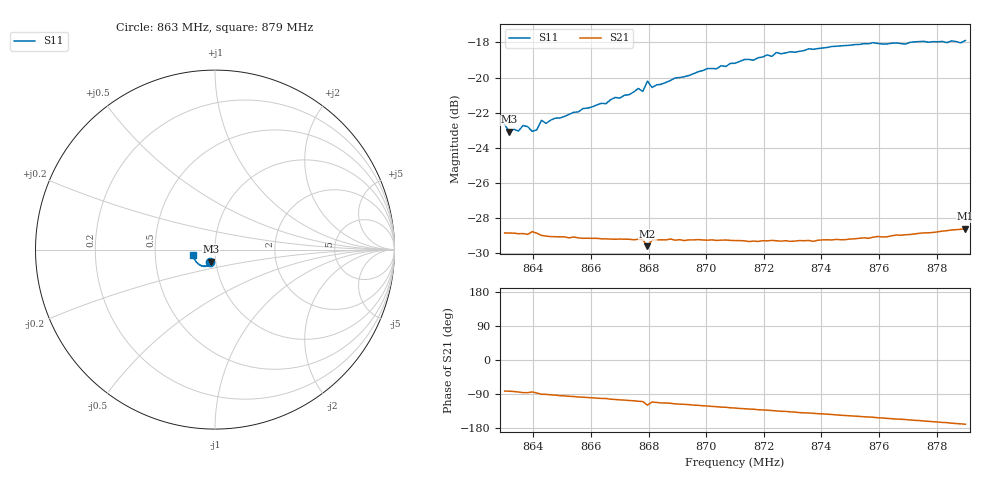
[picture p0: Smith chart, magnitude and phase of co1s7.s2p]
# HZ S RI R 50
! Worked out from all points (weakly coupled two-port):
!   101 points, 863 MHz to 879 MHz, reference 50 ohm
!   highest |S21| = -28.63 dB at 879 MHz (marker M1); lowest = -29.6 dB at 867.96 MHz (marker M2)
!   lowest |S11| = -23.1 dB at 863.16 MHz (marker M3), VSWR 1.15, Z = 47.4 - j6.32 ohm
!   |S11| at or under -10 dB: start of sweep to end of sweep
!   S12 and S22 are empty: the file has one direction only
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8.63e8  -0.0283 -0.0678  0.00499 -0.0357  0 0  0 0
8.6316e8  -0.0225 -0.0663  0.00483 -0.0357  0 0  0 0
8.6348e8  -0.0207 -0.0673  0.00345 -0.0357  0 0  0 0
8.6364e8  -0.0244 -0.0687  0.00246 -0.0358  0 0  0 0
8.6396e8  -0.015 -0.0686  0.00362 -0.0361  0 0  0 0
8.6412e8  -0.0155 -0.0692  0.00184 -0.0359  0 0  0 0
8.6428e8  -0.0224 -0.0721  -0.000274 -0.0354  0 0  0 0
8.6444e8  -0.0223 -0.0705  -0.00041 -0.0353  0 0  0 0
8.6572e8  -0.0236 -0.0781  -0.00495 -0.0344  0 0  0 0
8.6652e8  -0.0244 -0.0806  -0.00699 -0.0339  0 0  0 0
8.6764e8  -0.0326 -0.0872  -0.0112 -0.0327  0 0  0 0
8.678e8  -0.0324 -0.0853  -0.0116 -0.0324  0 0  0 0
8.6796e8  -0.0429 -0.0877  -0.0161 -0.0288  0 0  0 0
8.6812e8  -0.0345 -0.0871  -0.0123 -0.0321  0 0  0 0
8.6844e8  -0.0365 -0.0884  -0.0136 -0.0316  0 0  0 0
8.7004e8  -0.0498 -0.0936  -0.0179 -0.0293  0 0  0 0
8.71e8  -0.0581 -0.0931  -0.0205 -0.0274  0 0  0 0
8.7228e8  -0.0713 -0.0901  -0.0235 -0.0249  0 0  0 0
8.7244e8  -0.0754 -0.0906  -0.0239 -0.0244  0 0  0 0
8.7372e8  -0.0856 -0.0847  -0.0263 -0.0216  0 0  0 0
8.7644e8  -0.1093 -0.0611  -0.032 -0.0149  0 0  0 0
8.79e8  -0.1234 -0.0324  -0.0364 -0.0067  0 0  0 0
